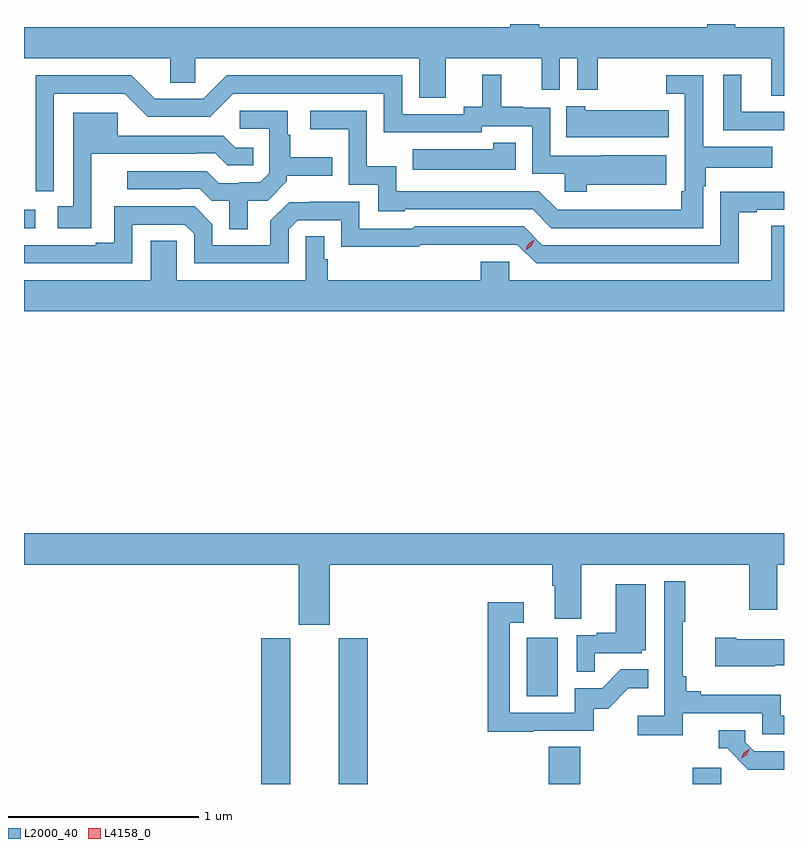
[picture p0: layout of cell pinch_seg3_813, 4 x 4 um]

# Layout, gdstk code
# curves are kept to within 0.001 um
import gdstk
lib = gdstk.Library(unit=1e-6, precision=1e-09)
def R(c, l, rs):  # rectangles x0, y0, x1, y1
    for r in rs: c.add(gdstk.rectangle(r[:2], r[2:], *l))
def P(c, l, *ps):  # polygons
    for p in ps: c.add(gdstk.Polygon(p, *l))
L2000_40 = (2000, 40)
L4158_0 = (4158, 0)

pinch_seg3_813 = lib.new_cell('pinch_seg3_813')
R(pinch_seg3_813, L2000_40, [(853.01,722.405,853.162,723.171), (853.418,722.405,853.571,723.171), (854.525,722.405,854.69,722.6), (855.281,722.405,855.432,722.49), (854.408,722.868,854.572,723.175), (851.762,725.331,851.821,725.427)])
P(pinch_seg3_813, L2000_40, [(853.981,726.224),(854.486,726.224),(854.486,726.06),(854.583,726.06),(854.583,726.224),(854.673,726.224),(854.673,726.06),(854.782,726.06),(854.782,726.224),(855.695,726.224),(855.695,726.028),(855.762,726.028),(855.762,726.388),(855.505,726.388),(855.505,726.405),(855.358,726.405),(855.358,726.388),(854.473,726.388),(854.473,726.405),(854.321,726.405),(854.321,726.388),(851.762,726.388),(851.762,726.224),(852.533,726.224),(852.533,726.097),(852.663,726.097),(852.663,726.224),(853.841,726.224),(853.841,726.016),(853.981,726.016)],
  [(855.762,725.943),(855.538,725.943),(855.538,726.139),(855.441,726.139),(855.441,725.847),(855.762,725.847)],
  [(854.723,725.558),(855.142,725.558),(855.142,725.713),(854.532,725.712),(854.532,725.964),(854.39,725.964),(854.39,725.969),(854.273,725.969),(854.273,726.139),(854.174,726.139),(854.174,725.969),(854.076,725.969),(854.076,725.931),(853.752,725.931),(853.752,726.135),(852.829,726.135),(852.706,726.012),(852.45,726.012),(852.327,726.135),(851.823,726.135),(851.823,725.526),(851.919,725.526),(851.919,726.039),(852.291,726.039),(852.414,725.916),(852.741,725.916),(852.864,726.039),(853.656,726.039),(853.656,725.835),(854.172,725.835),(854.172,725.868),(854.436,725.868),(854.436,725.616),(854.607,725.616),(854.607,725.523),(854.723,725.523)],
  [(855.336,725.552),(855.349,725.552),(855.349,725.648),(855.701,725.649),(855.701,725.758),(855.336,725.758),(855.336,726.135),(855.141,726.135),(855.141,726.039),(855.24,726.039),(855.24,725.524),(855.22,725.524),(855.22,725.428),(854.571,725.427),(854.472,725.526),(853.722,725.526),(853.722,725.657),(853.566,725.657),(853.566,725.949),(853.269,725.949),(853.269,725.852),(853.47,725.852),(853.47,725.559),(853.626,725.559),(853.626,725.42),(853.767,725.42),(853.767,725.43),(854.439,725.43),(854.538,725.331),(855.336,725.331)],
  [(855.155,725.95),(854.715,725.95),(854.715,725.971),(854.617,725.971),(854.617,725.81),(855.155,725.81)],
  [(852.939,725.476),(853.045,725.476),(853.146,725.577),(853.146,725.606),(853.385,725.606),(853.385,725.704),(853.162,725.704),(853.162,725.823),(853.149,725.823),(853.149,725.949),(852.897,725.949),(852.897,725.853),(853.053,725.853),(853.053,725.619),(853.005,725.571),(852.894,725.571),(852.894,725.568),(852.786,725.568),(852.723,725.631),(852.306,725.631),(852.306,725.535),(852.587,725.535),(852.587,725.538),(852.687,725.538),(852.749,725.476),(852.843,725.476),(852.843,725.326),(852.939,725.326)],
  [(852.117,725.721),(852.668,725.721),(852.668,725.724),(852.768,725.724),(852.831,725.661),(852.968,725.661),(852.968,725.754),(852.873,725.754),(852.81,725.817),(852.256,725.817),(852.256,725.938),(852.021,725.938),(852.021,725.447),(851.94,725.447),(851.94,725.331),(852.117,725.331)],
  [(854.351,725.779),(854.231,725.779),(854.231,725.746),(853.807,725.746),(853.807,725.639),(854.351,725.639)],
  [(852.333,725.349),(852.609,725.349),(852.657,725.301),(852.657,725.145),(853.155,725.145),(853.155,725.325),(853.203,725.373),(853.431,725.373),(853.431,725.232),(853.839,725.232),(853.85,725.243),(854.358,725.244),(854.457,725.145),(855.523,725.145),(855.523,725.415),(855.619,725.415),(855.619,725.427),(855.762,725.427),(855.762,725.523),(855.426,725.523),(855.426,725.241),(854.49,725.241),(854.391,725.34),(853.818,725.34),(853.806,725.328),(853.527,725.328),(853.527,725.47),(853.267,725.47),(853.267,725.468),(853.157,725.468),(853.059,725.37),(853.059,725.241),(852.753,725.241),(852.753,725.352),(852.66,725.445),(852.237,725.445),(852.237,725.253),(852.14,725.253),(852.14,725.241),(851.762,725.241),(851.762,725.145),(852.333,725.145)],
  [(855.762,725.342),(855.695,725.342),(855.695,725.056),(854.316,725.056),(854.316,725.154),(854.165,725.154),(854.165,725.056),(853.361,725.056),(853.361,725.166),(853.341,725.166),(853.341,725.288),(853.245,725.288),(853.245,725.056),(852.567,725.056),(852.567,725.264),(852.428,725.264),(852.428,725.056),(851.762,725.056),(851.762,724.892),(855.762,724.892)],
  [(853.372,723.56),(854.543,723.56),(854.543,723.448),(854.555,723.448),(854.555,723.274),(854.695,723.274),(854.695,723.56),(855.58,723.56),(855.58,723.321),(855.727,723.321),(855.727,723.56),(855.762,723.56),(855.762,723.724),(851.762,723.724),(851.762,723.56),(853.208,723.56),(853.208,723.243),(853.372,723.243)],
  [(855.23,722.778),(855.648,722.778),(855.648,722.667),(855.762,722.667),(855.762,722.763),(855.744,722.763),(855.744,722.875),(855.325,722.875),(855.325,722.894),(855.248,722.894),(855.248,722.971),(855.229,722.971),(855.229,723.259),(855.241,723.259),(855.241,723.472),(855.132,723.472),(855.132,722.764),(854.991,722.764),(854.991,722.662),(855.23,722.662)],
  [(854.765,723.093),(855.012,723.093),(855.012,723.108),(855.034,723.108),(855.034,723.457),(854.876,723.457),(854.876,723.202),(854.777,723.202),(854.777,723.189),(854.67,723.189),(854.67,722.995),(854.765,722.995)],
  [(854.441,722.685),(854.76,722.685),(854.76,722.802),(854.836,722.802),(854.943,722.909),(855.047,722.909),(855.047,723.008),(854.903,723.008),(854.805,722.91),(854.661,722.91),(854.661,722.781),(854.319,722.781),(854.319,723.255),(854.392,723.255),(854.392,723.361),(854.203,723.361),(854.203,722.68),(854.441,722.68)],
  [(855.713,723.029),(855.762,723.029),(855.762,723.166),(855.511,723.166),(855.511,723.174),(855.399,723.174),(855.399,723.026),(855.713,723.026)],
  [(855.762,722.577),(855.606,722.577),(855.558,722.625),(855.558,722.688),(855.419,722.688),(855.419,722.592),(855.462,722.592),(855.573,722.481),(855.762,722.481)])
P(pinch_seg3_813, L4158_0, [(855.535,722.538),(855.535,722.539),(855.552,722.571),(855.583,722.59),(855.583,722.59),(855.583,722.59),(855.566,722.558),(855.535,722.538)],
  [(854.402,725.214),(854.402,725.215),(854.417,725.248),(854.447,725.27),(854.447,725.27),(854.447,725.269),(854.433,725.236),(854.403,725.214)])

lib.write_gds('pinch_seg3_813.gds')
